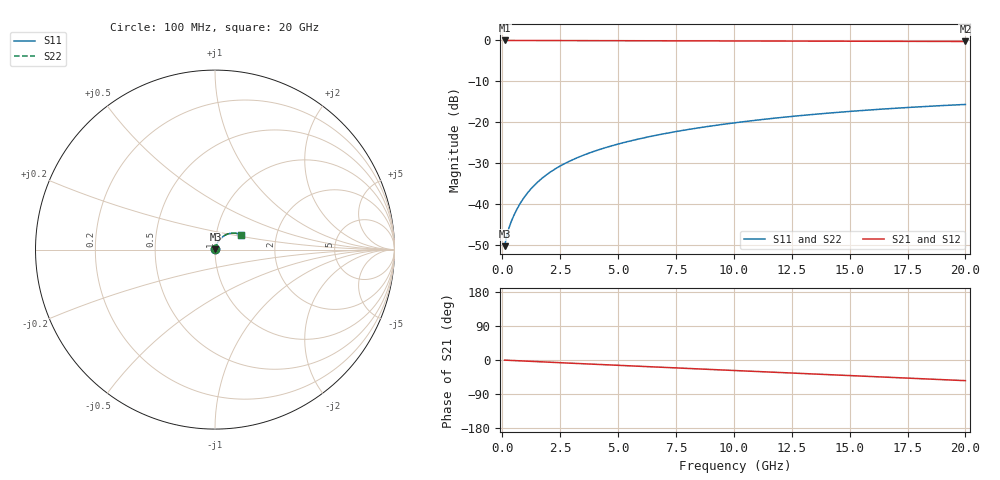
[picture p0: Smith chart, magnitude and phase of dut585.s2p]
! Touchstone file exported from HFSS 2026.1.0
!  File:  C:/ffzhzh/LocalFiles/Ansys_Project_Files/temp_train_BSMRDL_585_1783015772_4048.aedt
!  Generated:  02:10:57 AM Jul  3, 2026
!  Design:  BSMRDL
!  Project:  temp_train_BSMRDL_585_1783015772_4048
! Variables:
!  h_bsmrdl = 5.69um
!  h_ox = 20um
!  h_rdl = 5um
!  h_sub = 80um
!  h_tmrdl = 5um
!  h_tsv = 80um
!  h_via = 3um
!  l_bsmrdl = 958.31um
!  l_sub = 1358.31um
!  l_tmrdl = 200um
!  m_sub = 200um
!  pitch = 37.67um
!  r_tsv = 6um
!  s_tmrdl = 10um
!  w_bsmrdl = 27.04um
!  w_sub = 500um
!  w_tmrdl = 12um
!  x_tsv_center1 = 206um
!  x_tsv_center2 = 1191.35um
!  x_tsv_center3 = 1403.35um
!  x_tsv_center4 = 2388.7um
!  x_tsv_center5 = 2600.7um
!  x_tsv_center6 = 3586.05um
# GHz S MA R 50.000000
! Terminal data exported
! Port[1] = BSM_RDL1_1_T1
! Port[2] = BSM_RDL1_1_T2
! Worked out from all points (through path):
!   200 points, 100 MHz to 20 GHz, reference 50 ohm
!   highest |S21| = -0.02 dB at 100 MHz (marker M1); lowest = -0.3 dB at 20 GHz (marker M2)
!   group delay of S21, straight-line fit = 7.54 ps
!   lowest |S11| = -50.3 dB at 100 MHz (marker M3), VSWR 1.01, Z = 50.3 + j0.167 ohm
!   |S11| at or under -10 dB: start of sweep to end of sweep
!   |S22| runs from -50.3 to -15.7 dB; largest |S21 - S12| = 4.3e-15
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0.1  0.003054 33.0  0.9974 -0.3  0.9974 -0.3  0.003054 33.0
! Gamma 0 0 0 0
! Port Impedance 50 0 50 0
0.2  0.004187 45.0  0.9971 -0.6  0.9971 -0.6  0.004187 45.0
0.3  0.005223 51.5  0.9968 -0.9  0.9968 -0.9  0.005223 51.5
0.4  0.00623 56.3  0.9967 -1.2  0.9967 -1.2  0.006229 56.3
0.5  0.007253 60.0  0.9966 -1.5  0.9966 -1.5  0.007252 60.0
0.6  0.0083 62.8  0.9965 -1.7  0.9965 -1.7  0.008299 62.8
0.8  0.01046 66.8  0.9963 -2.3  0.9963 -2.3  0.01046 66.8
1  0.01267 69.1  0.9961 -2.9  0.9961 -2.9  0.01267 69.1
1.2  0.0149 70.6  0.9959 -3.5  0.9959 -3.5  0.0149 70.6
1.4  0.01713 71.4  0.9956 -4.0  0.9956 -4.0  0.01713 71.4
1.7  0.02046 72.0  0.9952 -4.9  0.9952 -4.9  0.02046 72.0
2.2  0.02592 71.9  0.9944 -6.3  0.9944 -6.3  0.02592 72.0
2.8  0.03229 71.2  0.9934 -8.0  0.9934 -8.0  0.03229 71.2
3.5  0.03945 69.8  0.9922 -9.9  0.9922 -9.9  0.03945 69.9
4.2  0.04637 68.4  0.9911 -11.9  0.9911 -11.9  0.04637 68.4
5  0.05404 66.6  0.9898 -14.1  0.9898 -14.1  0.05403 66.7
6.8  0.07058 62.6  0.9871 -19.0  0.9871 -19.0  0.07057 62.6
8.4  0.08461 58.9  0.9848 -23.3  0.9848 -23.3  0.08459 58.9
10.1  0.09884 54.8  0.9825 -28.0  0.9825 -28.0  0.09881 54.9
13.4  0.1242 46.7  0.9779 -36.9  0.9779 -36.9  0.1242 46.8
16.7  0.1464 38.5  0.9735 -45.7  0.9735 -45.7  0.1463 38.6
20  0.1648 30.2  0.9695 -54.5  0.9695 -54.5  0.1647 30.4
